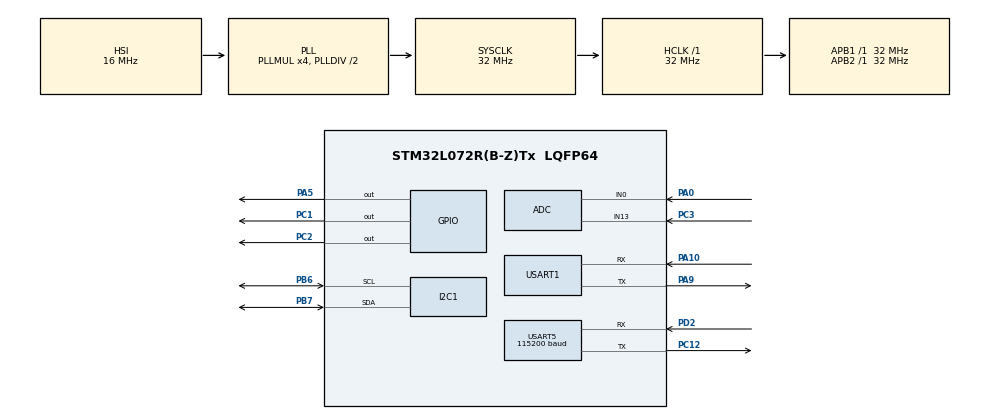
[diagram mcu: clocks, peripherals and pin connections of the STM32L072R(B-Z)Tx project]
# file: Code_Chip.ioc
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ADC.ContinuousConvMode=DISABLE
ADC.DiscontinuousConvMode=DISABLE
ADC.EOCSelection=ADC_EOC_SINGLE_CONV
I2C1.Timing=0x00707CBB
Mcu.Family=STM32L0
Mcu.Name=STM32L072R(B-Z)Tx
Mcu.Package=LQFP64
PA0.Mode=IN0
PA0.Signal=ADC_IN0
PA10.Mode=Asynchronous
PA10.Signal=USART1_RX
PA5.Signal=GPIO_Output
PA9.Mode=Asynchronous
PA9.Signal=USART1_TX
PB6.Mode=I2C
PB6.Signal=I2C1_SCL
PB7.Mode=I2C
PB7.Signal=I2C1_SDA
PC1.Signal=GPIO_Output
PC10.Signal=USART4_TX
PC11.Signal=USART4_RX
PC12.Mode=Asynchronous
PC12.Signal=USART5_TX
PC2.Signal=GPIO_Output
PC3.Mode=IN13
PC3.Signal=ADC_IN13
PD2.Mode=Asynchronous
PD2.Signal=USART5_RX
ProjectManager.HeapSize=0x200
ProjectManager.StackSize=0x400
ProjectManager.TargetToolchain=STM32CubeIDE
RCC.AHBFreq_Value=32000000
RCC.APB1Freq_Value=32000000
RCC.APB1TimFreq_Value=32000000
RCC.APB2Freq_Value=32000000
RCC.APB2TimFreq_Value=32000000
RCC.HCLKFreq_Value=32000000
RCC.HSE_VALUE=8000000
RCC.HSI16_VALUE=16000000
RCC.HSI48_VALUE=48000000
RCC.HSI_VALUE=16000000
RCC.LSE_VALUE=32768
RCC.MSIAutoCalibration=DISABLED
RCC.MSI_VALUE=2097000
RCC.PLLMUL=RCC_PLLMUL_4
RCC.SYSCLKFreq_VALUE=32000000
RCC.SYSCLKSource=RCC_SYSCLKSOURCE_PLLCLK
RCC.VCOOutputFreq_Value=64000000
TIM2.Period=65534
TIM2.Prescaler=31
USART1.VirtualMode-Asynchronous=VM_ASYNC
USART5.BaudRate=115200
USART5.VirtualMode-Asynchronous=VM_ASYNC
VP_TIM2_VS_ClockSourceINT.Mode=Internal
board=custom

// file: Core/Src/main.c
/* USER CODE BEGIN Header */
/**
  ******************************************************************************
  * @file           : main.c
  * @brief          : Main program body
  ******************************************************************************
  * @attention
  *
  * <h2><center>&copy; Copyright (c) 2022 STMicroelectronics.
  * All rights reserved.</center></h2>
  *
  * This software component is licensed by ST under BSD 3-Clause license,
  * the "License"; You may not use this file except in compliance with the
  * License. You may obtain a copy of the License at:
  *                        opensource.org/licenses/BSD-3-Clause
  *
  ******************************************************************************
  */
/* USER CODE END Header */
#include "main.h"

/* USER CODE BEGIN Includes */
#include <string.h>
#include <stdio.h>
#include "delay.h"
#include "DHT22.h"
#include "DS18B20.h"
#include "BMP180.h"
/* USER CODE END Includes */

ADC_HandleTypeDef hadc;

I2C_HandleTypeDef hi2c1;

TIM_HandleTypeDef htim2;

UART_HandleTypeDef huart1;
UART_HandleTypeDef huart5;

void SystemClock_Config(void);
static void MX_TIM2_Init(void);
static void MX_GPIO_Init(void);
static void MX_I2C1_Init(void);
static void MX_ADC_Init(void);
static void MX_USART1_UART_Init(void);
static void MX_USART5_UART_Init(void);
/* USER CODE BEGIN PFP */
void get_BMP180Readings(float *tempPtr, float *pressurePtr, float *altPtr);
void get_DHT22Readings(float *tempPtr, float *humPtr, uint8_t *u8Arr, uint16_t *u16Arr);
void get_DS18B20Readings(uint8_t *statusPtr, uint8_t *u8Arr, uint16_t *u16Ptr, float *floatPtr);
void get_LDRReadings(ADC_ChannelConfTypeDef *ADC_configPtr, float *voltagePtr, uint16_t *lightPtr);
void get_moistureReadings(ADC_ChannelConfTypeDef *ADC_config, uint16_t *moisturePtr);
/* USER CODE END PFP */

int main(void)
{
  /* USER CODE BEGIN 1 */

	HAL_GPIO_TogglePin(GPIOA, GPIO_PIN_5);
	//
	//
	//
	// ***change ID in while loop for each node
	//
	//
	//
	//----------------------------------------------------variables
	//-------------------------------------GPS
/*
	uint8_t buf[71] = "";
	uint8_t msg0[32] = "\n\rFUll NMEA String: ";
	uint8_t msg1[32] = "\n\rLongitude: ";
	uint8_t msg2[32] = "\n\rLatitude: ";
	uint8_t command[45] = "PMTK314,0,1,0,1,0,0,0,0,0,0,0,0,0,0,0,0,0,0,0"; //For GGA and RMC information only
*/
	//-------------------------------------BMP180
	float BMP_TempC, BMP_Alt, BMP_Pressure;
	char BMP180_PressBuffer[50];
	char BMP180_AltBuffer[50];
	char BMP180_TempBuffer[50];
	//-------------------------------------DHT22
	float DHT_TempC = 0;
	float DHT_Hum = 0;
	uint8_t thp[] = {0, 0, 0, 0, 0};			//t1, t2, h1, h2, p
	uint16_t temphumsum[] = {0, 0, 0};			//temp, hum, sum
	char DHT22_TempBuffer[50];
	char DHT22_HumBuffer[50];
	//-------------------------------------DS18B20
/*	uint8_t DS18B20_tempArr[] = {0, 0};
	uint16_t DS18B20_T;
	float internalTemp = 0;
	char DS18B20_TempBuffer[50];*/
	//-------------------------------------LDR
/*	uint16_t light = 0;
	float voltage;
	//char voltBuffer[50];
	ADC_ChannelConfTypeDef sConfig = {0};
	sConfig.Channel = ADC_CHANNEL_0;
	sConfig.Rank = 1;*/
	//-------------------------------------moisture
	uint16_t  moisture = 0;
	char moistbuffer[50];
	ADC_ChannelConfTypeDef sConfig2 = {13};
	sConfig2.Channel = ADC_CHANNEL_13;
	//-------------------------------------------------------------
	sConfig2.Rank = 1;
	//-------------------------------------message frame
	//char messageFrame[300]

  /* USER CODE END 1 */

  /* MCU Configuration--------------------------------------------------------*/

  /* Reset of all peripherals, Initializes the Flash interface and the Systick. */
  HAL_Init();

  /* Configure the system clock */
  SystemClock_Config();

  /* Initialize all configured peripherals */
  MX_TIM2_Init();
  MX_GPIO_Init();
  MX_I2C1_Init();
  MX_ADC_Init();
  MX_USART1_UART_Init();
  MX_USART5_UART_Init();
  /* USER CODE BEGIN 2 */
	HAL_TIM_Base_Start(&htim2);
	dataCalibration();
  	//HAL_UART_Transmit(&huart5, command, 45, 4000);

  	HAL_GPIO_TogglePin(GPIOA, GPIO_PIN_5);
  /* USER CODE END 2 */

  /* Infinite loop */
  while (1)
  {

    /* USER CODE BEGIN 3 */
	  //---------------------------------------GPS
/*
	  strcpy((char*)buf, "");
	  HAL_UART_Receive(&huart5, buf, 71, 4000);
	  HAL_UART_Transmit(&huart5, msg0, 32, 1000);
	  HAL_UART_Transmit(&huart5, buf, 71, 4000);

	  char* LongT = (char*) buf;
	  LongT = LongT + 18;
	  char* LatT = (char*) buf;
	  LatT = LatT + 30;

	  HAL_UART_Transmit(&huart5, msg1, 32, 1000);
	  HAL_UART_Transmit(&huart5, LongT, 11, 1000);
	  HAL_UART_Transmit(&huart5, msg2, 32, 1000);
	  HAL_UART_Transmit(&huart5, LatT, 12, 1000);
*/

	  //------------------------------------------------------------BMP180
	  get_BMP180Readings(&BMP_TempC, &BMP_Pressure, &BMP_Alt);
	  //-------------REMOVING THIS LINE TRIGGERS BMP-DHT CONFLICT
	  HAL_Delay(1000);
	  // HAL_GPIO_TogglePin(GPIOA, GPIO_PIN_5);
	  //-----------------------------------------//
	  //------------------------------------------------------------DHT22
	  get_DHT22Readings(&DHT_TempC, &DHT_Hum, thp, temphumsum);
	  //------------------------------------------------------------DS18B20
//	  get_DS18B20Readings(&thp[4], DS18B20_tempArr, &DS18B20_T, &internalTemp);
	  //------------------------------------------------------------LDR
//	  get_LDRReadings(&sConfig, &voltage, &light);
	  //-----------------------------------------------------------moisture
	  get_moistureReadings(&sConfig2, &moisture);

	  //------------------------------------------------------------------float to string
	  sprintf(BMP180_PressBuffer, "%.1f", BMP_Pressure);
	  sprintf(BMP180_AltBuffer, "%.1f", BMP_Alt);
	  sprintf(BMP180_TempBuffer, "%.1f", BMP_TempC);
	  sprintf(DHT22_TempBuffer, "%.1f", DHT_TempC);
	  sprintf(DHT22_HumBuffer, "%.1f", DHT_Hum);
//	  sprintf(DS18B20_TempBuffer, "%.1f", internalTemp);
	  sprintf(moistbuffer, "%d", moisture);
	  //----------------------------------------------------------------------message frame format
	  //@ N1 72T 47H 7400S 19A 10150P 554M # (NO SPACE)
	  //open -> @
	  //ID -> N1, N2, N3,...
	  //DHT22 - temp -> T
	  //DHT22 - hum -> H
	  //DS18B20 -> S
	  //BMP180 - alt -> A
	  //BMP180 - pres -> P
	  //Moisture -> M
	  //close -> #
	  //-----------------------------------------------------------------------------message frame - head
	  HAL_UART_Transmit(&huart5, (uint8_t*)"@", strlen("@"), HAL_MAX_DELAY);
	  //-------------------------------------------------------------------------------------hardcoded ID
	  HAL_UART_Transmit(&huart5, (uint8_t*)"N3", strlen("N3"), HAL_MAX_DELAY);
	  //--------------------------------------------------------------------------------------------DHT22
	  //------------------------------------------------------------------------------temp
	  HAL_UART_Transmit(&huart5, (uint8_t*)DHT22_TempBuffer, strlen(DHT22_TempBuffer), HAL_MAX_DELAY);
	  HAL_UART_Transmit(&huart5, (uint8_t*)"T", strlen("T"), HAL_MAX_DELAY);
	  //-----------------------------------------------------------------------------humidity
	  HAL_UART_Transmit(&huart5, (uint8_t*)DHT22_HumBuffer, strlen(DHT22_HumBuffer), HAL_MAX_DELAY);
	  HAL_UART_Transmit(&huart5, (uint8_t*)"H", strlen("H"), HAL_MAX_DELAY);
	  //------------------------------------------------------------------------------------------DS18B20
//	  HAL_UART_Transmit(&huart5, (uint8_t*)DS18B20_TempBuffer, strlen(DHT22_TempBuffer), HAL_MAX_DELAY);
	  HAL_UART_Transmit(&huart5, (uint8_t*)"S", strlen("S"), HAL_MAX_DELAY);
	  //------------------------------------------------------------------------------------------BMP180
	  //-----------------------------------------altitude
	  HAL_UART_Transmit(&huart5, (uint8_t*)BMP180_AltBuffer, strlen(BMP180_AltBuffer), HAL_MAX_DELAY);
	  HAL_UART_Transmit(&huart5, (uint8_t*)"A", strlen("A"), HAL_MAX_DELAY);
	  //-----------------------------------------pressure
	  HAL_UART_Transmit(&huart5, (uint8_t*)BMP180_PressBuffer, strlen(BMP180_PressBuffer), HAL_MAX_DELAY);
	  HAL_UART_Transmit(&huart5, (uint8_t*)"P", strlen("P"), HAL_MAX_DELAY);
	  //------------------------------------------------------------------------------------------moisture
	  HAL_UART_Transmit(&huart5, (uint8_t*)moistbuffer, strlen(moistbuffer), HAL_MAX_DELAY);
	  HAL_UART_Transmit(&huart5, (uint8_t*)"M", strlen("M"), HAL_MAX_DELAY);
	  //-------------------------------------------------------------------------------message frame - tail
	  HAL_UART_Transmit(&huart5, (uint8_t*)"#", strlen("#"), HAL_MAX_DELAY);

	  //HAL_Delay(1000);
  }
  /* USER CODE END 3 */
}

void SystemClock_Config(void)
{
  RCC_OscInitTypeDef RCC_OscInitStruct = {0};
  RCC_ClkInitTypeDef RCC_ClkInitStruct = {0};
  RCC_PeriphCLKInitTypeDef PeriphClkInit = {0};

  /** Configure the main internal regulator output voltage
  */
  __HAL_PWR_VOLTAGESCALING_CONFIG(PWR_REGULATOR_VOLTAGE_SCALE1);
  /** Initializes the RCC Oscillators according to the specified parameters
  * in the RCC_OscInitTypeDef structure.
  */
  RCC_OscInitStruct.OscillatorType = RCC_OSCILLATORTYPE_HSI;
  RCC_OscInitStruct.HSIState = RCC_HSI_ON;
  RCC_OscInitStruct.HSICalibrationValue = RCC_HSICALIBRATION_DEFAULT;
  RCC_OscInitStruct.PLL.PLLState = RCC_PLL_ON;
  RCC_OscInitStruct.PLL.PLLSource = RCC_PLLSOURCE_HSI;
  RCC_OscInitStruct.PLL.PLLMUL = RCC_PLLMUL_4;
  RCC_OscInitStruct.PLL.PLLDIV = RCC_PLLDIV_2;
  if (HAL_RCC_OscConfig(&RCC_OscInitStruct) != HAL_OK)
  {
    Error_Handler();
  }
  /** Initializes the CPU, AHB and APB buses clocks
  */
  RCC_ClkInitStruct.ClockType = RCC_CLOCKTYPE_HCLK|RCC_CLOCKTYPE_SYSCLK
                              |RCC_CLOCKTYPE_PCLK1|RCC_CLOCKTYPE_PCLK2;
  RCC_ClkInitStruct.SYSCLKSource = RCC_SYSCLKSOURCE_PLLCLK;
  RCC_ClkInitStruct.AHBCLKDivider = RCC_SYSCLK_DIV1;
  RCC_ClkInitStruct.APB1CLKDivider = RCC_HCLK_DIV1;
  RCC_ClkInitStruct.APB2CLKDivider = RCC_HCLK_DIV1;

  if (HAL_RCC_ClockConfig(&RCC_ClkInitStruct, FLASH_LATENCY_1) != HAL_OK)
  {
    Error_Handler();
  }
  PeriphClkInit.PeriphClockSelection = RCC_PERIPHCLK_USART1|RCC_PERIPHCLK_I2C1;
  PeriphClkInit.Usart1ClockSelection = RCC_USART1CLKSOURCE_PCLK2;
  PeriphClkInit.I2c1ClockSelection = RCC_I2C1CLKSOURCE_PCLK1;
  if (HAL_RCCEx_PeriphCLKConfig(&PeriphClkInit) != HAL_OK)
  {
    Error_Handler();
  }
}

static void MX_ADC_Init(void)
{

  ADC_ChannelConfTypeDef sConfig = {0};

  /** Configure the global features of the ADC (Clock, Resolution, Data Alignment and number of conversion)
  */
  hadc.Instance = ADC1;
  hadc.Init.OversamplingMode = DISABLE;
  hadc.Init.ClockPrescaler = ADC_CLOCK_SYNC_PCLK_DIV2;
  hadc.Init.Resolution = ADC_RESOLUTION_12B;
  hadc.Init.SamplingTime = ADC_SAMPLETIME_1CYCLE_5;
  hadc.Init.ScanConvMode = ADC_SCAN_DIRECTION_FORWARD;
  hadc.Init.DataAlign = ADC_DATAALIGN_RIGHT;
  hadc.Init.ContinuousConvMode = DISABLE;
  hadc.Init.DiscontinuousConvMode = DISABLE;
  hadc.Init.ExternalTrigConvEdge = ADC_EXTERNALTRIGCONVEDGE_NONE;
  hadc.Init.ExternalTrigConv = ADC_SOFTWARE_START;
  hadc.Init.DMAContinuousRequests = DISABLE;
  hadc.Init.EOCSelection = ADC_EOC_SINGLE_CONV;
  hadc.Init.Overrun = ADC_OVR_DATA_PRESERVED;
  hadc.Init.LowPowerAutoWait = DISABLE;
  hadc.Init.LowPowerFrequencyMode = DISABLE;
  hadc.Init.LowPowerAutoPowerOff = DISABLE;
  if (HAL_ADC_Init(&hadc) != HAL_OK)
  {
    Error_Handler();
  }
  /** Configure for the selected ADC regular channel to be converted.
  */
  sConfig.Channel = ADC_CHANNEL_0;
  sConfig.Rank = ADC_RANK_CHANNEL_NUMBER;
  if (HAL_ADC_ConfigChannel(&hadc, &sConfig) != HAL_OK)
  {
    Error_Handler();
  }
  /** Configure for the selected ADC regular channel to be converted.
  */
  sConfig.Channel = ADC_CHANNEL_13;
  if (HAL_ADC_ConfigChannel(&hadc, &sConfig) != HAL_OK)
  {
    Error_Handler();
  }

}

static void MX_I2C1_Init(void)
{

  hi2c1.Instance = I2C1;
  hi2c1.Init.Timing = 0x00707CBB;
  hi2c1.Init.OwnAddress1 = 0;
  hi2c1.Init.AddressingMode = I2C_ADDRESSINGMODE_7BIT;
  hi2c1.Init.DualAddressMode = I2C_DUALADDRESS_DISABLE;
  hi2c1.Init.OwnAddress2 = 0;
  hi2c1.Init.OwnAddress2Masks = I2C_OA2_NOMASK;
  hi2c1.Init.GeneralCallMode = I2C_GENERALCALL_DISABLE;
  hi2c1.Init.NoStretchMode = I2C_NOSTRETCH_DISABLE;
  if (HAL_I2C_Init(&hi2c1) != HAL_OK)
  {
    Error_Handler();
  }
  /** Configure Analogue filter
  */
  if (HAL_I2CEx_ConfigAnalogFilter(&hi2c1, I2C_ANALOGFILTER_ENABLE) != HAL_OK)
  {
    Error_Handler();
  }
  /** Configure Digital filter
  */
  if (HAL_I2CEx_ConfigDigitalFilter(&hi2c1, 0) != HAL_OK)
  {
    Error_Handler();
  }

}

static void MX_TIM2_Init(void)
{

  TIM_ClockConfigTypeDef sClockSourceConfig = {0};
  TIM_MasterConfigTypeDef sMasterConfig = {0};

  htim2.Instance = TIM2;
  htim2.Init.Prescaler = 31;
  htim2.Init.CounterMode = TIM_COUNTERMODE_UP;
  htim2.Init.Period = 65534;
  htim2.Init.ClockDivision = TIM_CLOCKDIVISION_DIV1;
  htim2.Init.AutoReloadPreload = TIM_AUTORELOAD_PRELOAD_DISABLE;
  if (HAL_TIM_Base_Init(&htim2) != HAL_OK)
  {
    Error_Handler();
  }
  sClockSourceConfig.ClockSource = TIM_CLOCKSOURCE_INTERNAL;
  if (HAL_TIM_ConfigClockSource(&htim2, &sClockSourceConfig) != HAL_OK)
  {
    Error_Handler();
  }
  sMasterConfig.MasterOutputTrigger = TIM_TRGO_RESET;
  sMasterConfig.MasterSlaveMode = TIM_MASTERSLAVEMODE_DISABLE;
  if (HAL_TIMEx_MasterConfigSynchronization(&htim2, &sMasterConfig) != HAL_OK)
  {
    Error_Handler();
  }

}

static void MX_USART1_UART_Init(void)
{

  huart1.Instance = USART1;
  huart1.Init.BaudRate = 115200;
  huart1.Init.WordLength = UART_WORDLENGTH_8B;
  huart1.Init.StopBits = UART_STOPBITS_1;
  huart1.Init.Parity = UART_PARITY_NONE;
  huart1.Init.Mode = UART_MODE_TX_RX;
  huart1.Init.HwFlowCtl = UART_HWCONTROL_NONE;
  huart1.Init.OverSampling = UART_OVERSAMPLING_16;
  huart1.Init.OneBitSampling = UART_ONE_BIT_SAMPLE_DISABLE;
  huart1.AdvancedInit.AdvFeatureInit = UART_ADVFEATURE_NO_INIT;
  if (HAL_UART_Init(&huart1) != HAL_OK)
  {
    Error_Handler();
  }

}

static void MX_USART5_UART_Init(void)
{

  huart5.Instance = USART5;
  huart5.Init.BaudRate = 115200;
  huart5.Init.WordLength = UART_WORDLENGTH_8B;
  huart5.Init.StopBits = UART_STOPBITS_1;
  huart5.Init.Parity = UART_PARITY_NONE;
  huart5.Init.Mode = UART_MODE_TX_RX;
  huart5.Init.HwFlowCtl = UART_HWCONTROL_NONE;
  huart5.Init.OverSampling = UART_OVERSAMPLING_16;
  huart5.Init.OneBitSampling = UART_ONE_BIT_SAMPLE_DISABLE;
  huart5.AdvancedInit.AdvFeatureInit = UART_ADVFEATURE_NO_INIT;
  if (HAL_UART_Init(&huart5) != HAL_OK)
  {
    Error_Handler();
  }

}

static void MX_GPIO_Init(void)
{
  GPIO_InitTypeDef GPIO_InitStruct = {0};

  /* GPIO Ports Clock Enable */
  __HAL_RCC_GPIOC_CLK_ENABLE();
  __HAL_RCC_GPIOA_CLK_ENABLE();
  __HAL_RCC_GPIOD_CLK_ENABLE();
  __HAL_RCC_GPIOB_CLK_ENABLE();

  /*Configure GPIO pin Output Level */
  HAL_GPIO_WritePin(GPIOC, GPIO_PIN_1|GPIO_PIN_2, GPIO_PIN_RESET);

  /*Configure GPIO pin Output Level */
  HAL_GPIO_WritePin(GPIOA, GPIO_PIN_5, GPIO_PIN_RESET);

  /*Configure GPIO pins : PC1 PC2 */
  GPIO_InitStruct.Pin = GPIO_PIN_1|GPIO_PIN_2;
  GPIO_InitStruct.Mode = GPIO_MODE_OUTPUT_PP;
  GPIO_InitStruct.Pull = GPIO_NOPULL;
  GPIO_InitStruct.Speed = GPIO_SPEED_FREQ_LOW;
  HAL_GPIO_Init(GPIOC, &GPIO_InitStruct);

  /*Configure GPIO pin : PA5 */
  GPIO_InitStruct.Pin = GPIO_PIN_5;
  GPIO_InitStruct.Mode = GPIO_MODE_OUTPUT_PP;
  GPIO_InitStruct.Pull = GPIO_NOPULL;
  GPIO_InitStruct.Speed = GPIO_SPEED_FREQ_LOW;
  HAL_GPIO_Init(GPIOA, &GPIO_InitStruct);

  /*Configure GPIO pins : PC10 PC11 */
  GPIO_InitStruct.Pin = GPIO_PIN_10|GPIO_PIN_11;
  GPIO_InitStruct.Mode = GPIO_MODE_AF_PP;
  GPIO_InitStruct.Pull = GPIO_NOPULL;
  GPIO_InitStruct.Speed = GPIO_SPEED_FREQ_VERY_HIGH;
  GPIO_InitStruct.Alternate = GPIO_AF6_USART4;
  HAL_GPIO_Init(GPIOC, &GPIO_InitStruct);

}

/* USER CODE BEGIN 4 */
void get_BMP180Readings(float *tempPtr, float *pressurePtr, float *altPtr){
	*tempPtr = getTemp(); 						//Get Temperature
	//BMP_TempF = ((BMP_TempC * 9) / 5) + 32; 	//Convert to F
	*pressurePtr = getPressure(0); 				//Get Pressure
	*altPtr = getAlt(0); 							//Get Altitude
}
void get_DHT22Readings(float *tempPtr, float *humPtr, uint8_t *u8Arr, uint16_t *u16Arr){
	sensorInit();
	u8Arr[4] = sensorVerify();
	if(u8Arr[4]) {
		u8Arr[2] = sensorRead(); 						//Read Lower 8 Humidity
	  	u8Arr[3] = sensorRead(); 						//Read Upper 8 Humidity
	  	u8Arr[0] = sensorRead(); 						//Read Lower 8 Temperature
	  	u8Arr[1] = sensorRead(); 						//Read Upper 8 Temperature
	  	u16Arr[2] = sensorRead(); 					//Read Checksum

	  	u16Arr[0] = ((u8Arr[0] << 8) | u8Arr[1]); 	//Assemble Temperature
	  	u16Arr[1] = ((u8Arr[2] << 8 | u8Arr[3])); 	//Assemble Humidity

	  	*tempPtr = (float) (u16Arr[0]/10.0);			//Get Temperature
	   	*tempPtr = ((*tempPtr * 9) / 5) + 32; 		//Convert from Celsius
	   	*humPtr = (float) (u16Arr[1]/10.0); 			//Get Humidity
	   	}
}
void get_DS18B20Readings(uint8_t *statusPtr, uint8_t *u8Arr, uint16_t *u16Ptr, float *floatPtr){
	*statusPtr = dsInit(); 							//Initialize the DS18B20
	if(*statusPtr) {
		HAL_Delay(1);
		dsWrite(0xCC); 								//Skip ROM Command
		dsWrite(0x44);								//Convert Temperature
		}
	*statusPtr = dsInit(); 							//Initialize DS18B20 Again
	if(*statusPtr) {
		HAL_Delay(1);
		dsWrite(0xCC); 								//Skip ROM Command
		dsWrite(0xBE); 								//Read Scratchpad
		u8Arr[0] = dsRead(); 							//Read Lower 8
		u8Arr[1] = dsRead(); 							//Read Upper 8

		*u16Ptr = (u8Arr[1] << 8) | u8Arr[0]; 		//Combine
		*floatPtr = (float) *u16Ptr/16; 				//Get Temperature
		*floatPtr = ((*floatPtr * 9) / 5) + 32; 		//Convert to F
		}
}
void get_LDRReadings(ADC_ChannelConfTypeDef *ADC_configPtr, float *voltagePtr, uint16_t *lightPtr){
	//sConfig.SamplingTime = ADC_SAMPLETIME_28CYCLES; //l0 hal has no .samplingtime attribute?
	if(HAL_ADC_ConfigChannel(&hadc, ADC_configPtr) != HAL_OK) {
		Error_Handler();
	}
	HAL_ADC_Start(&hadc); 									//Start Light ADC
	HAL_ADC_PollForConversion(&hadc, HAL_MAX_DELAY);
	*lightPtr = HAL_ADC_GetValue(&hadc);
	*voltagePtr = 3.3 * (*lightPtr);
	*voltagePtr = *voltagePtr / 4095;
}
void get_moistureReadings(ADC_ChannelConfTypeDef *ADC_configPtr, uint16_t *moisturePtr){
	//ADC_configPtr->Channel = ADC_CHANNEL_13;
	if(HAL_ADC_ConfigChannel(&hadc, ADC_configPtr) != HAL_OK) {
		Error_Handler();
	}
	HAL_ADC_Start(&hadc); 									//Start Soil ADC
	HAL_ADC_PollForConversion(&hadc, HAL_MAX_DELAY);
	*moisturePtr = HAL_ADC_GetValue(&hadc);
}
/* USER CODE END 4 */

void Error_Handler(void)
{
  __disable_irq();
  while (1)
  {
  }
}

/************************ (C) COPYRIGHT STMicroelectronics *****END OF FILE****/
